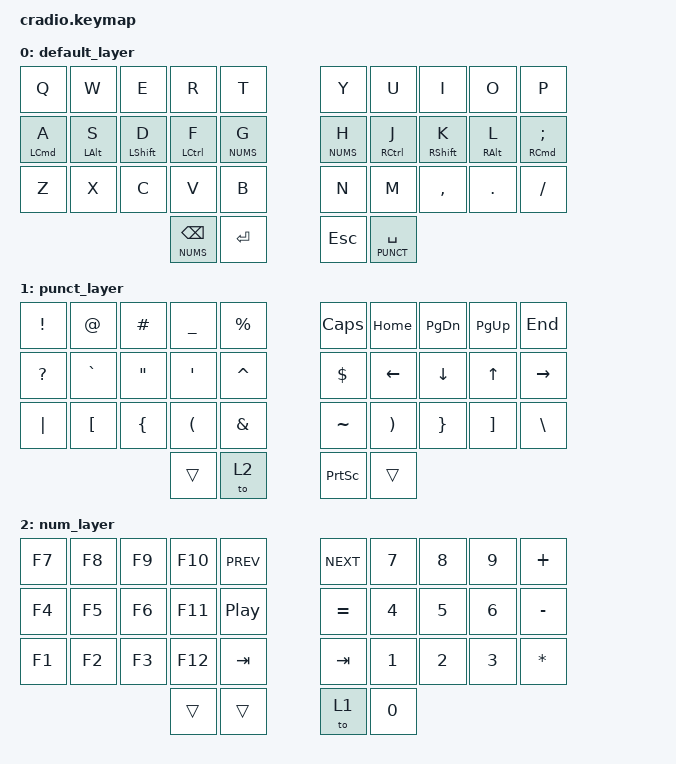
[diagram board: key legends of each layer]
/*
 * Copyright (c) 2020 The ZMK Contributors
 *
 * SPDX-License-Identifier: MIT
 */

#include <behaviors.dtsi>
#include <dt-bindings/zmk/keys.h>
#include <dt-bindings/zmk/bt.h>

#define DEFAULT 0
#define PUNCT   1
#define NUMS    2

/ {
        behaviors {
            hm: homerow_mods {
                compatible = "zmk,behavior-hold-tap";
                label = "HOMEROW_MODS";
                #binding-cells = <2>;
                tapping-term-ms = <200>;
                quick_tap_ms = <0>;
                flavor = "balanced";
                bindings = <&kp>, <&kp>;
            };
            combos {
                compatible = "zmk,combos";
                combo_layer_escape {
                    timeout-ms = <50>;
                    key-positions = <37 40>;
                    bindings = <&to 0>;
                };
                combo_sticky_shift {
                    timeout-ms = <50>;
                    key-positions = <16 19>;
                    bindings = <&sk LSHIFT>;
                };
            };
        };

        keymap {
                compatible = "zmk,keymap";

                default_layer {
// ┌────────┬────────┬────────┬────────┬────────┐ ┌────────┬────────┬────────┬────────┬────────┐
// |  Q     |  W     |  E     |  R     |  T     | |  Y     |  U     |  I     |  O     |  P     |
// ├────────┼────────┼────────┼────────┼────────┤ ├────────┼────────┼────────┼────────┼────────┤
// |  A/WIN |  S/ALT |  D/SFT |  F/CTRL|  G/NUMS| |  H/NUMS|  J/CTRL|  K/SFT |  L/ALT |  ;/WIN |
// ├────────┼────────┼────────┼────────┼────────┤ ├────────┼────────┼────────┼────────┼────────┤
// |  Z     |  X     |  C     |  V     |  B     | |  N     |  M     |  ,     |  .     |  /     |
// ┴────────┴────────┴────────┼────────┼────────┤ ├────────┼────────┼────────┴────────┴────────┘
//                            |NUMS/BSP| ENT    | | ESC    |PUNCT/SP| 
//		                        └────────┴────────┘ └────────┴────────┘


                        bindings = <
   &kp Q       &kp W       &kp E         &kp R          &kp T         &kp Y       &kp U            &kp I          &kp O       &kp P          
   &hm LCMD A  &hm LALT S  &hm LSHIFT D  &hm LCTRL F    &lt NUMS G    &lt NUMS H  &hm RCTRL J      &hm RSHIFT K   &hm RALT L  &hm RCMD SEMI 
   &kp Z       &kp X       &kp C         &kp V          &kp B         &kp N       &kp M            &kp COMMA      &kp DOT     &kp FSLH      
                                         &lt NUMS BSPC  &kp RET       &kp ESC     &lt PUNCT SPACE  
                        >;
                };

                punct_layer {
// ┌────────┬────────┬────────┬────────┬────────┐ ┌────────┬────────┬────────┬────────┬────────┐
// |  !     |  @     |  #     |  _     |  %     | |  CAPS  |  HOME  |  PGDN  |  PGUP  |  END   |
// ├────────┼────────┼────────┼────────┼────────┤ ├────────┼────────┼────────┼────────┼────────┤
// |  ?     |  `     |  "     |  '     |  ^     | |  $     |  LEFT  |  DOWN  |  UP    |  RIGHT |
// ├────────┼────────┼────────┼────────┼────────┤ ├────────┼────────┼────────┼────────┼────────┤
// |  |     |  [     |  {     |  (     |  &     | |  ~     |  )     |  }     |  ]     |  BSLSH |
// └────────┴────────┴────────┼────────┼────────┤ ├────────┼────────┼────────┴────────┴────────┘
//                            | ___    | NUMLK  | | PSCRN  | ___    |
//		                        └────────┴────────┘ └────────┴────────┘

                        bindings = <
   &kp EXCL   &kp AT     &kp HASH  &kp UNDER  &kp PRCNT        &kp CAPS  &kp HOME  &kp PG_DN &kp PG_UP &kp END    
   &kp QMARK  &kp GRAVE  &kp DQT   &kp SQT    &kp CARET        &kp DLLR  &kp LEFT  &kp DOWN  &kp UP    &kp RIGHT 
   &kp PIPE   &kp LBKT   &kp LBRC  &kp LPAR   &kp AMPS         &kp TILDE &kp RPAR  &kp RBRC  &kp RBKT  &kp BSLH 
                                           &trans     &to 2            &kp PSCRN &trans    
                        >;
                };

                num_layer {
// ┌────────┬────────┬────────┬────────┬────────┐ ┌────────┬────────┬────────┬────────┬────────┐
// |  F7    |  F8    |  F9    |  F10   |  PREV  | |  NEXT  |  7     |  8     |  9     |  +     |
// ├────────┼────────┼────────┼────────┼────────┤ ├────────┼────────┼────────┼────────┼────────┤
// |  F4    |  F5    |  F6    |  F11   |  PP    | |  =     |  4     |  5     |  6     |  -     |
// ├────────┼────────┼────────┼────────┼────────┤ ├────────┼────────┼────────┼────────┼────────┤
// |  F1    |  F2    |  F3    |  F12   |  TAB   | |  TAB   |  1     |  2     |  3     |  *     |
// └────────┴────────┴────────┼────────┼────────┤ ├────────┼────────┼────────┴────────┴────────┘
//                            | ___    |  ___   | | PUNCTLK|  0     |
//	                          └────────┴────────┘ └────────┴────────┘

                        bindings = <
   &kp F7  &kp F8  &kp F9  &kp F10  &kp C_PREV  &kp C_NEXT &kp N7  &kp N8  &kp N9  &kp PLUS   
   &kp F4  &kp F5  &kp F6  &kp F11  &kp C_PP    &kp EQUAL  &kp N4  &kp N5  &kp N6  &kp MINUS 
   &kp F1  &kp F2  &kp F3  &kp F12  &kp TAB     &kp TAB    &kp N1  &kp N2  &kp N3  &kp STAR 
                                   &trans   &trans      &to 1      &kp N0  
                        >;
                };
               
        };
}; 

